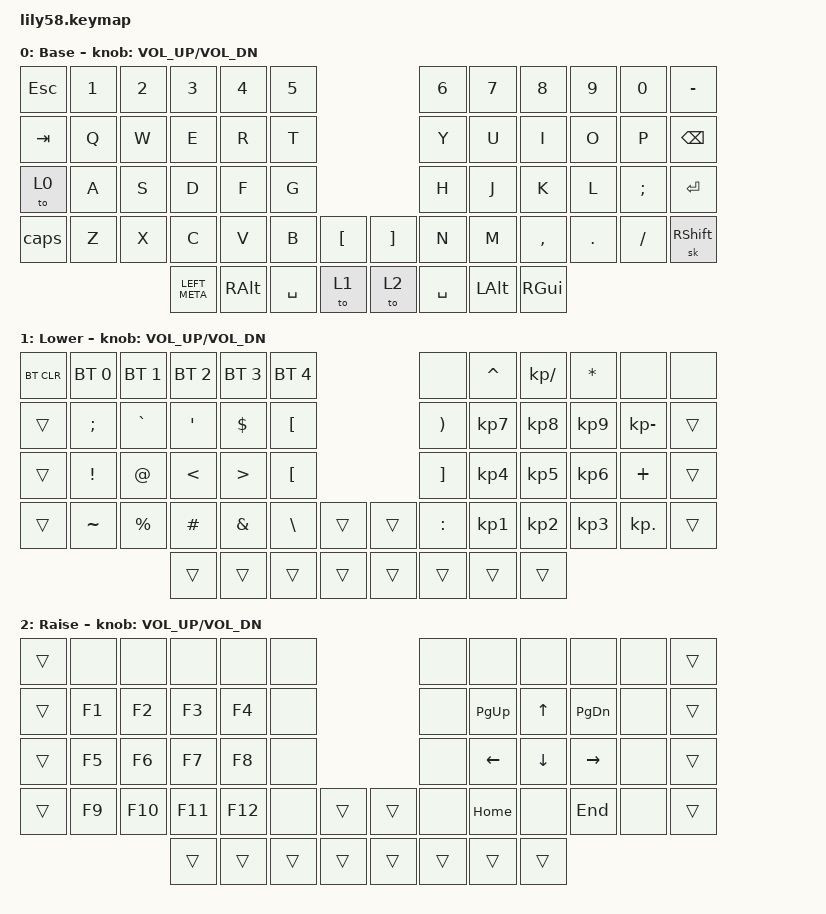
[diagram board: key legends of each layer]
/*
 * Copyright (c) 2020 The ZMK Contributors
 *
 * SPDX-License-Identifier: MIT
 */

#include <behaviors.dtsi>
#include <dt-bindings/zmk/bt.h>
#include <dt-bindings/zmk/keys.h>

/ {
    behaviors {
        caps: caps {
            compatible = "zmk,behavior-tap-dance";
            label = "CAPS";
            #binding-cells = <0>;
            bindings = <&sk LSHFT>, <&kp CLCK>;
        };
    };

    keymap {
        compatible = "zmk,keymap";

        default_layer {
            // ------------------------------------------------------------------------------------------------------------
            // |  ESC  |  1  |  2  |  3   |  4   |  5   |                   |  6   |  7    |  8    |  9   |   0   |   `   |
            // |  TAB  |  Q  |  W  |  E   |  R   |  T   |                   |  Y   |  U    |  I    |  O   |   P   |   -   |
            // |  CTRL |  A  |  S  |  D   |  F   |  G   |                   |  H   |  J    |  K    |  L   |   ;   |   '   |
            // | SHIFT |  Z  |  X  |  C   |  V   |  B   |   "["  |  |  "]"  |  N   |  M    |  ,    |  .   |   /   | SHIFT |
            //                     | ALT  | GUI  | LOWER|  SPACE |  | ENTER | RAISE| BSPC  | GUI   |

            display-name = "Base";
            bindings = <
&kp ESC  &kp N1  &kp N2  &kp N3         &kp N4    &kp N5                           &kp N6     &kp N7    &kp N8     &kp N9   &kp N0    &kp MINUS
&kp TAB  &kp Q   &kp W   &kp E          &kp R     &kp T                            &kp Y      &kp U     &kp I      &kp O    &kp P     &kp BSPC
&to 0    &kp A   &kp S   &kp D          &kp F     &kp G                            &kp H      &kp J     &kp K      &kp L    &kp SEMI  &kp ENTER
&caps    &kp Z   &kp X   &kp C          &kp V     &kp B      &kp LBKT    &kp RBKT  &kp N      &kp M     &kp COMMA  &kp DOT  &kp FSLH  &sk RSHFT
                         &kp LEFT_META  &kp RALT  &kp SPACE  &to 1       &to 2     &kp SPACE  &kp LALT  &kp RGUI
            >;

            sensor-bindings = <&inc_dec_kp C_VOL_UP C_VOL_DN>;
        };

        lower_layer {
            // ------------------------------------------------------------------------------------------------------------
            // | BTCLR | BT1 | BT2 |  BT3 |  BT4 |  BT5 |                   |      |       |       |      |       |       |
            // |  F1   |  F2 |  F3 |  F4  |  F5  |  F6  |                   |  F7  |  F8   |  F9   |  F10 |  F11  |  F12  |
            // |   `   |  !  |  @  |  #   |  $   |  %   |                   |  ^   |  &    |  *    |  (   |   )   |   ~   |
            // |       |     |     |      |      |      |        |  |       |      |  _    |  +    |  {   |   }   |  "|"  |
            //                     |      |      |      |        |  |       |      |       |       |

            display-name = "Lower";
            bindings = <
&bt BT_CLR  &bt BT_SEL 0  &bt BT_SEL 1  &bt BT_SEL 2   &bt BT_SEL 3      &bt BT_SEL 4                        &none                  &kp CARET  &kp KP_DIVIDE  &kp STAR   &none         &none
&trans      &kp SEMI      &kp GRAVE     &kp APOS       &kp DOLLAR        &kp LEFT_BRACKET                    &kp RIGHT_PARENTHESIS  &kp KP_N7  &kp KP_N8      &kp KP_N9  &kp KP_MINUS  &trans
&trans      &kp EXCL      &kp AT        &kp LESS_THAN  &kp GREATER_THAN  &kp LEFT_BRACKET                    &kp RIGHT_BRACKET      &kp KP_N4  &kp KP_N5      &kp KP_N6  &kp PLUS      &trans
&trans      &kp TILDE     &kp PERCENT   &kp HASH       &kp AMPS          &kp BACKSLASH     &trans    &trans  &kp COLON              &kp KP_N1  &kp KP_N2      &kp KP_N3  &kp KP_DOT    &trans
                                        &trans         &trans            &trans            &trans    &trans  &trans                 &trans     &trans
            >;

            sensor-bindings = <&inc_dec_kp C_VOL_UP C_VOL_DN>;
        };

        raise_layer {
            // ------------------------------------------------------------------------------------------------------------
            // |       |     |     |      |      |      |                   |      |       |       |      |       |       |
            // |   `   |  1  |  2  |  3   |  4   |  5   |                   |  6   |   7   |   8   |  9   |   0   |       |
            // |   F1  |  F2 |  F3 |  F4  |  F5  |  F6  |                   |      |   <-  |   v   |  ^   |  ->   |       |
            // |   F7  |  F8 |  F9 |  F10 |  F11 |  F12 |        |  |       |  +   |   -   |   =   |  [   |   ]   |   \   |
            //                     |      |      |      |        |  |       |      |       |       |

            display-name = "Raise";
            bindings = <
&trans  &none   &none    &none    &none    &none                     &none   &none        &none     &none          &none  &trans
&trans  &kp F1  &kp F2   &kp F3   &kp F4   &none                     &none   &kp PAGE_UP  &kp UP    &kp PAGE_DOWN  &none  &trans
&trans  &kp F5  &kp F6   &kp F7   &kp F8   &none                     &none   &kp LEFT     &kp DOWN  &kp RIGHT      &none  &trans
&trans  &kp F9  &kp F10  &kp F11  &kp F12  &none   &trans    &trans  &none   &kp HOME     &none     &kp END        &none  &trans
                         &trans   &trans   &trans  &trans    &trans  &trans  &trans       &trans
            >;

            sensor-bindings = <&inc_dec_kp C_VOL_UP C_VOL_DN>;
        };
    };
};
